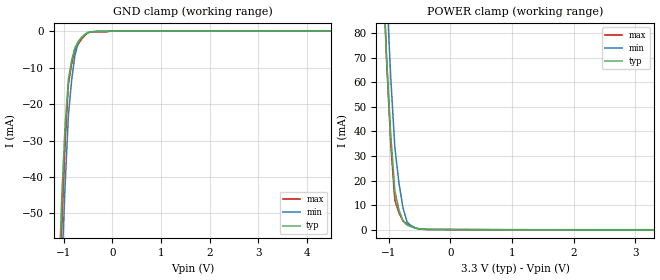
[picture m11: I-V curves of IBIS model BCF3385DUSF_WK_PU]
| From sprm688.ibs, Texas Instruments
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|BCF3385DUSF_WK_PD; WEAK_PULLDOWN_ON
|   Model Cell  BCF3385DUSF_WK_PU
| BCF3385DUSF_WK_PU
[Model]   BCF3385DUSF_WK_PU
Model_type   Input
Polarity   Non-Inverting
Vinl =  0.8
Vinh =  2
C_comp   1.190763p   1.060544p   1.317111p
[Model Spec]
Vinl   0.8   0.8   0.8
Vinh   2   2   2
[Temperature Range]   25   155   -40
[Voltage Range]   3.3   2.97   3.63
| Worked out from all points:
|   GND clamp passes 1 mA (typ) near -0.57 V on its own axis
|   POWER clamp passes 1 mA (typ) near -0.62 V on its own axis
| Nom Voltages:
|   VDD=1.2, VDDS=3.3, VSS=0
| Min Voltages:
|   VDD=1.08, VDDS=2.97, VSS=0
| Max Voltages:
|   VDD=1.32, VDDS=3.63, VSS=0
[POWER_clamp]
|   voltage   I(typ)   I(min)   I(max)
-3.3V     1.919A     2.431A     2.07A
-1.1V     109.6mA    140.7mA    112.7mA
-1.033V   69.93mA    97.96mA    68.79mA
-966.7mV  38.67mA    62.26mA    35.25mA
-900mV    15.77mA    33.62mA    12.07mA
-833.3mV  8.066mA    18.98mA    6.794mA
-766.7mV  3.416mA    8.771mA    3.541mA
-700mV    1.823mA    2.98mA     2.308mA
-566.7mV  559.2uA    662uA      706.9uA
-500mV    180.3uA    246.1uA    210.5uA
-366.7mV  40uA       41.55uA    52.52uA
3.3V      -108.8uA   -62.53uA   -174uA
[GND_clamp]
|   voltage   I(typ)   I(min)   I(max)
-3.3V     -1.48A     -1.41A     -2.186A
-1.1V     -69.74mA   -89.96mA   -82.84mA
-1.033V   -44.48mA   -64.24mA   -52.89mA
-966.7mV  -25.64mA   -41.94mA   -30.09mA
-900mV    -13.23mA   -23.07mA   -14.44mA
-833.3mV  -8.038mA   -13.34mA   -8.967mA
-766.7mV  -4.575mA   -6.694mA   -5.352mA
-700mV    -2.842mA   -3.12mA    -3.602mA
-566.7mV  -977.9uA   -997uA     -1.251mA
-500mV    -370.6uA   -431uA     -470.7uA
-33.33mV  0A         0A         0A
6.6V      0A         0A         0A
